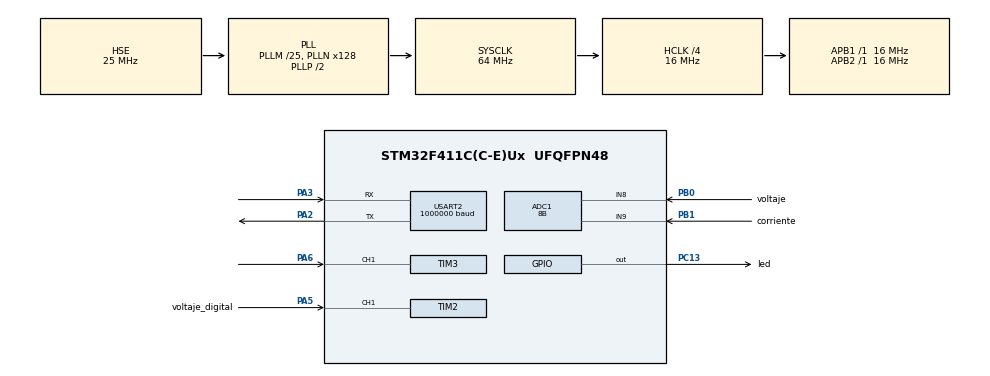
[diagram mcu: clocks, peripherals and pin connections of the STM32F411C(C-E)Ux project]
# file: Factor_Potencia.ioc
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ADC1.Channel-0\#ChannelRegularConversion=ADC_CHANNEL_8
ADC1.Channel-1\#ChannelRegularConversion=ADC_CHANNEL_9
ADC1.ContinuousConvMode=DISABLE
ADC1.DMAContinuousRequests=ENABLE
ADC1.DiscontinuousConvMode=DISABLE
ADC1.EOCSelection=ADC_EOC_SEQ_CONV
ADC1.ExternalTrigConv=ADC_EXTERNALTRIGCONV_T2_TRGO
ADC1.NbrOfConversion=2
ADC1.NbrOfConversionFlag=1
ADC1.Rank-0\#ChannelRegularConversion=1
ADC1.Rank-1\#ChannelRegularConversion=2
ADC1.Resolution=ADC_RESOLUTION_8B
ADC1.SamplingTime-0\#ChannelRegularConversion=ADC_SAMPLETIME_3CYCLES
ADC1.SamplingTime-1\#ChannelRegularConversion=ADC_SAMPLETIME_3CYCLES
ADC1.master=1
Dma.ADC1.0.Direction=DMA_PERIPH_TO_MEMORY
Dma.ADC1.0.FIFOMode=DMA_FIFOMODE_DISABLE
Dma.ADC1.0.Instance=DMA2_Stream0
Dma.ADC1.0.MemDataAlignment=DMA_MDATAALIGN_WORD
Dma.ADC1.0.MemInc=DMA_MINC_ENABLE
Dma.ADC1.0.Mode=DMA_CIRCULAR
Dma.ADC1.0.PeriphDataAlignment=DMA_PDATAALIGN_WORD
Dma.ADC1.0.PeriphInc=DMA_PINC_DISABLE
Dma.ADC1.0.Priority=DMA_PRIORITY_LOW
Dma.Request0=ADC1
Mcu.Family=STM32F4
Mcu.Name=STM32F411C(C-E)Ux
Mcu.Package=UFQFPN48
NVIC.ADC_IRQn=true\:0\:0\:false\:false\:true\:true\:true\:true
NVIC.DMA2_Stream0_IRQn=true\:0\:0\:false\:false\:true\:false\:true\:true
NVIC.PriorityGroup=NVIC_PRIORITYGROUP_4
PA13.Mode=Serial_Wire
PA13.Signal=SYS_JTMS-SWDIO
PA14.Mode=Serial_Wire
PA14.Signal=SYS_JTCK-SWCLK
PA2.Mode=Asynchronous
PA2.Signal=USART2_TX
PA3.Mode=Asynchronous
PA3.Signal=USART2_RX
PA5.GPIO_Label=voltaje_digital
PA5.Signal=S_TIM2_CH1_ETR
PA6.Signal=S_TIM3_CH1
PB0.GPIO_Label=voltaje
PB0.Signal=ADCx_IN8
PB1.GPIO_Label=corriente
PB1.Signal=ADCx_IN9
PC13-ANTI_TAMP.GPIO_Label=led
PC13-ANTI_TAMP.Signal=GPIO_Output
PH0\ -\ OSC_IN.Mode=HSE-External-Oscillator
PH0\ -\ OSC_IN.Signal=RCC_OSC_IN
PH1\ -\ OSC_OUT.Mode=HSE-External-Oscillator
PH1\ -\ OSC_OUT.Signal=RCC_OSC_OUT
ProjectManager.HeapSize=0x200
ProjectManager.StackSize=0x400
ProjectManager.TargetToolchain=STM32CubeIDE
RCC.48MHZClocksFreq_Value=32000000
RCC.AHBCLKDivider=RCC_SYSCLK_DIV4
RCC.AHBFreq_Value=16000000
RCC.APB1Freq_Value=16000000
RCC.APB1TimFreq_Value=16000000
RCC.APB2Freq_Value=16000000
RCC.APB2TimFreq_Value=16000000
RCC.CortexFreq_Value=16000000
RCC.HCLKFreq_Value=16000000
RCC.HSE_VALUE=25000000
RCC.HSI_VALUE=16000000
RCC.LSE_VALUE=32768
RCC.PLLM=25
RCC.PLLN=128
RCC.PLLSourceVirtual=RCC_PLLSOURCE_HSE
RCC.SYSCLKFreq_VALUE=64000000
RCC.SYSCLKSource=RCC_SYSCLKSOURCE_PLLCLK
RCC.VCOOutputFreq_Value=128000000
SH.ADCx_IN8.0=ADC1_IN8,IN8
SH.ADCx_IN9.0=ADC1_IN9,IN9
SH.S_TIM2_CH1_ETR.0=TIM2_CH1,PWM_Input_1
SH.S_TIM3_CH1.0=TIM3_CH1,PWM_Input_1
TIM2.AutoReloadPreload=TIM_AUTORELOAD_PRELOAD_ENABLE
TIM2.Period=1340-1
TIM2.TIM_MasterOutputTrigger=TIM_TRGO_UPDATE
USART2.BaudRate=1000000
USART2.VirtualMode=VM_ASYNC
VP_TIM2_VS_ClockSourceINT.Mode=Internal
board=custom

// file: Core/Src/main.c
/* USER CODE BEGIN Header */
/**
  ******************************************************************************
  * @file           : main.c
  * @brief          : Main program body
  ******************************************************************************
  * @attention
  *
  * Copyright (c) 2024 STMicroelectronics.
  * All rights reserved.
  *
  * This software is licensed under terms that can be found in the LICENSE file
  * in the root directory of this software component.
  * If no LICENSE file comes with this software, it is provided AS-IS.
  *
  ******************************************************************************
  */
/* USER CODE END Header */
#include "main.h"

/* USER CODE BEGIN Includes */
#include "math.h"
#include "stdbool.h"
#include "stdio.h"
#include "string.h"
/* USER CODE END Includes */

/* USER CODE BEGIN PD */
#define N 200 //Cantidad de muestras
#define resolution 254.0 //resulucion en bits del adc

#define Vp_max 3.3 //Voltaje pico en Volt
#define Ip_max 3.3 //Corriente pico en Amperse
#define V_pendiente (Vp_max/(resolution/2.0))
#define I_pediente (Ip_max/(resolution/2.0))

#define pi 3.1416
#define w ((2.0)*pi)
/* USER CODE END PD */

ADC_HandleTypeDef hadc1;
DMA_HandleTypeDef hdma_adc1;

TIM_HandleTypeDef htim2;
TIM_HandleTypeDef htim3;

UART_HandleTypeDef huart2;

/* USER CODE BEGIN PV */
float V = 0; //valores muestreados del voltaje
float I = 0; //Valores muestreados de la corriente
float PA = 0; //Potencia aparente
float Vrms = 0; //rms del voltaje
float Irms = 0; //rms de la corriente
float PF = 0; // Factor de potencia
float phi = 0; //Angulo de defase

bool end_pf_cal = false; //Bandera de fin de calcular PF
bool EOC_adc = false; //bandera de fin de captura los datos del adc

uint16_t samples = 0; //Contador de muestras

char msg[] = "PF:x.xx PA:xx.x phi:xxx.x Vrms:xx.x Irms:xx.x V:xxx.x I:xxx.x\r\n"; //bufer para mandar al pc por uart
//char msg2[] = "Vrms:xxx.x V:xxx.x I:xxx.x \r\n";

// [0]voltaje [1]corriente
uint32_t adc_buffer[2] = {0};//buffer para lalectura del adc en dma
/* USER CODE END PV */

void SystemClock_Config(void);
static void MX_GPIO_Init(void);
static void MX_DMA_Init(void);
static void MX_ADC1_Init(void);
static void MX_TIM2_Init(void);
static void MX_USART2_UART_Init(void);
static void MX_TIM3_Init(void);

int main(void)
{

  /* MCU Configuration--------------------------------------------------------*/

  /* Reset of all peripherals, Initializes the Flash interface and the Systick. */
  HAL_Init();

  /* Configure the system clock */
  SystemClock_Config();

  /* Initialize all configured peripherals */
  MX_GPIO_Init();
  MX_DMA_Init();
  MX_ADC1_Init();
  MX_TIM2_Init();
  MX_USART2_UART_Init();
  MX_TIM3_Init();
  /* USER CODE BEGIN 2 */

  HAL_TIM_Base_Start(&htim2); //INICIALIZAMOS TIMER TRIGER DEL ADC
  HAL_ADC_Start_DMA(&hadc1,adc_buffer,2); // Comienza el ADC Y HABILITA DMA

  /* USER CODE END 2 */

  /* Infinite loop */
  /* USER CODE BEGIN WHILE */
  while (1)
  {
	  if (end_pf_cal) {
		  sprintf(msg,"PF:%.2f PA:%.1f phi:%.1f Vrms:%.1f Irms:%.1f V:%.1f I:%.1f \r\n",PF,PA,phi,Vrms,Irms,V,I);
		  //sprintf(msg2,"Vrms:%.1f V:%.1f I:%.1f \r\n",Vrms,V,I);
		  HAL_UART_Transmit(&huart1, (uint8_t *)msg, strlen(msg), HAL_MAX_DELAY);

		  PA = 0;
		  Vrms = 0;
		  Irms = 0;

		  end_pf_cal = false;
	}

	 if (EOC_adc){ //por interrupcion del adc_dma
		//hacemos convercion de datos
		V = V_pendiente*adc_buffer[0]-Vp_max;
		I = I_pediente*adc_buffer[1]-Ip_max;

		//Implementamos las integrales discretas
		PA += (V*I)/N;
		Vrms += (V*V)/N;
		Irms += (I*I)/N;

		samples++;
		EOC_adc = false;
	}

	if (samples >= N) {
		//Terminamos de calcular
		Vrms = sqrtf(Vrms);
		Irms = sqrtf(Irms);
		PF = PA/(Vrms*Irms);

		phi = (360.0/w)*acosf(PF);

		//Seteamos
		samples = 0;
		end_pf_cal = true;
	}
    /* USER CODE END WHILE */

  }
}

void SystemClock_Config(void)
{
  RCC_OscInitTypeDef RCC_OscInitStruct = {0};
  RCC_ClkInitTypeDef RCC_ClkInitStruct = {0};

  /** Configure the main internal regulator output voltage
  */
  __HAL_RCC_PWR_CLK_ENABLE();
  __HAL_PWR_VOLTAGESCALING_CONFIG(PWR_REGULATOR_VOLTAGE_SCALE1);

  /** Initializes the RCC Oscillators according to the specified parameters
  * in the RCC_OscInitTypeDef structure.
  */
  RCC_OscInitStruct.OscillatorType = RCC_OSCILLATORTYPE_HSE;
  RCC_OscInitStruct.HSEState = RCC_HSE_ON;
  RCC_OscInitStruct.PLL.PLLState = RCC_PLL_ON;
  RCC_OscInitStruct.PLL.PLLSource = RCC_PLLSOURCE_HSE;
  RCC_OscInitStruct.PLL.PLLM = 25;
  RCC_OscInitStruct.PLL.PLLN = 128;
  RCC_OscInitStruct.PLL.PLLP = RCC_PLLP_DIV2;
  RCC_OscInitStruct.PLL.PLLQ = 4;
  if (HAL_RCC_OscConfig(&RCC_OscInitStruct) != HAL_OK)
  {
    Error_Handler();
  }

  /** Initializes the CPU, AHB and APB buses clocks
  */
  RCC_ClkInitStruct.ClockType = RCC_CLOCKTYPE_HCLK|RCC_CLOCKTYPE_SYSCLK
                              |RCC_CLOCKTYPE_PCLK1|RCC_CLOCKTYPE_PCLK2;
  RCC_ClkInitStruct.SYSCLKSource = RCC_SYSCLKSOURCE_PLLCLK;
  RCC_ClkInitStruct.AHBCLKDivider = RCC_SYSCLK_DIV4;
  RCC_ClkInitStruct.APB1CLKDivider = RCC_HCLK_DIV1;
  RCC_ClkInitStruct.APB2CLKDivider = RCC_HCLK_DIV1;

  if (HAL_RCC_ClockConfig(&RCC_ClkInitStruct, FLASH_LATENCY_0) != HAL_OK)
  {
    Error_Handler();
  }
}

static void MX_ADC1_Init(void)
{

  ADC_ChannelConfTypeDef sConfig = {0};

  /** Configure the global features of the ADC (Clock, Resolution, Data Alignment and number of conversion)
  */
  hadc1.Instance = ADC1;
  hadc1.Init.ClockPrescaler = ADC_CLOCK_SYNC_PCLK_DIV2;
  hadc1.Init.Resolution = ADC_RESOLUTION_8B;
  hadc1.Init.ScanConvMode = ENABLE;
  hadc1.Init.ContinuousConvMode = DISABLE;
  hadc1.Init.DiscontinuousConvMode = DISABLE;
  hadc1.Init.ExternalTrigConvEdge = ADC_EXTERNALTRIGCONVEDGE_RISING;
  hadc1.Init.ExternalTrigConv = ADC_EXTERNALTRIGCONV_T2_TRGO;
  hadc1.Init.DataAlign = ADC_DATAALIGN_RIGHT;
  hadc1.Init.NbrOfConversion = 2;
  hadc1.Init.DMAContinuousRequests = ENABLE;
  hadc1.Init.EOCSelection = ADC_EOC_SEQ_CONV;
  if (HAL_ADC_Init(&hadc1) != HAL_OK)
  {
    Error_Handler();
  }

  /** Configure for the selected ADC regular channel its corresponding rank in the sequencer and its sample time.
  */
  sConfig.Channel = ADC_CHANNEL_8;
  sConfig.Rank = 1;
  sConfig.SamplingTime = ADC_SAMPLETIME_3CYCLES;
  if (HAL_ADC_ConfigChannel(&hadc1, &sConfig) != HAL_OK)
  {
    Error_Handler();
  }

  /** Configure for the selected ADC regular channel its corresponding rank in the sequencer and its sample time.
  */
  sConfig.Channel = ADC_CHANNEL_9;
  sConfig.Rank = 2;
  if (HAL_ADC_ConfigChannel(&hadc1, &sConfig) != HAL_OK)
  {
    Error_Handler();
  }

}

static void MX_TIM2_Init(void)
{

  TIM_ClockConfigTypeDef sClockSourceConfig = {0};
  TIM_SlaveConfigTypeDef sSlaveConfig = {0};
  TIM_IC_InitTypeDef sConfigIC = {0};
  TIM_MasterConfigTypeDef sMasterConfig = {0};

  htim2.Instance = TIM2;
  htim2.Init.Prescaler = 0;
  htim2.Init.CounterMode = TIM_COUNTERMODE_UP;
  htim2.Init.Period = 1340-1;
  htim2.Init.ClockDivision = TIM_CLOCKDIVISION_DIV1;
  htim2.Init.AutoReloadPreload = TIM_AUTORELOAD_PRELOAD_ENABLE;
  if (HAL_TIM_Base_Init(&htim2) != HAL_OK)
  {
    Error_Handler();
  }
  sClockSourceConfig.ClockSource = TIM_CLOCKSOURCE_INTERNAL;
  if (HAL_TIM_ConfigClockSource(&htim2, &sClockSourceConfig) != HAL_OK)
  {
    Error_Handler();
  }
  if (HAL_TIM_IC_Init(&htim2) != HAL_OK)
  {
    Error_Handler();
  }
  sSlaveConfig.SlaveMode = TIM_SLAVEMODE_RESET;
  sSlaveConfig.InputTrigger = TIM_TS_TI1FP1;
  sSlaveConfig.TriggerPolarity = TIM_INPUTCHANNELPOLARITY_RISING;
  sSlaveConfig.TriggerPrescaler = TIM_ICPSC_DIV1;
  sSlaveConfig.TriggerFilter = 0;
  if (HAL_TIM_SlaveConfigSynchro(&htim2, &sSlaveConfig) != HAL_OK)
  {
    Error_Handler();
  }
  sConfigIC.ICPolarity = TIM_INPUTCHANNELPOLARITY_RISING;
  sConfigIC.ICSelection = TIM_ICSELECTION_DIRECTTI;
  sConfigIC.ICPrescaler = TIM_ICPSC_DIV1;
  sConfigIC.ICFilter = 0;
  if (HAL_TIM_IC_ConfigChannel(&htim2, &sConfigIC, TIM_CHANNEL_1) != HAL_OK)
  {
    Error_Handler();
  }
  sConfigIC.ICPolarity = TIM_INPUTCHANNELPOLARITY_FALLING;
  sConfigIC.ICSelection = TIM_ICSELECTION_INDIRECTTI;
  if (HAL_TIM_IC_ConfigChannel(&htim2, &sConfigIC, TIM_CHANNEL_2) != HAL_OK)
  {
    Error_Handler();
  }
  sMasterConfig.MasterOutputTrigger = TIM_TRGO_UPDATE;
  sMasterConfig.MasterSlaveMode = TIM_MASTERSLAVEMODE_DISABLE;
  if (HAL_TIMEx_MasterConfigSynchronization(&htim2, &sMasterConfig) != HAL_OK)
  {
    Error_Handler();
  }

}

static void MX_TIM3_Init(void)
{

  TIM_SlaveConfigTypeDef sSlaveConfig = {0};
  TIM_IC_InitTypeDef sConfigIC = {0};
  TIM_MasterConfigTypeDef sMasterConfig = {0};

  htim3.Instance = TIM3;
  htim3.Init.Prescaler = 0;
  htim3.Init.CounterMode = TIM_COUNTERMODE_UP;
  htim3.Init.Period = 65535;
  htim3.Init.ClockDivision = TIM_CLOCKDIVISION_DIV1;
  htim3.Init.AutoReloadPreload = TIM_AUTORELOAD_PRELOAD_DISABLE;
  if (HAL_TIM_IC_Init(&htim3) != HAL_OK)
  {
    Error_Handler();
  }
  sSlaveConfig.SlaveMode = TIM_SLAVEMODE_RESET;
  sSlaveConfig.InputTrigger = TIM_TS_TI1FP1;
  sSlaveConfig.TriggerPolarity = TIM_INPUTCHANNELPOLARITY_RISING;
  sSlaveConfig.TriggerPrescaler = TIM_ICPSC_DIV1;
  sSlaveConfig.TriggerFilter = 0;
  if (HAL_TIM_SlaveConfigSynchro(&htim3, &sSlaveConfig) != HAL_OK)
  {
    Error_Handler();
  }
  sConfigIC.ICPolarity = TIM_INPUTCHANNELPOLARITY_RISING;
  sConfigIC.ICSelection = TIM_ICSELECTION_DIRECTTI;
  sConfigIC.ICPrescaler = TIM_ICPSC_DIV1;
  sConfigIC.ICFilter = 0;
  if (HAL_TIM_IC_ConfigChannel(&htim3, &sConfigIC, TIM_CHANNEL_1) != HAL_OK)
  {
    Error_Handler();
  }
  sConfigIC.ICPolarity = TIM_INPUTCHANNELPOLARITY_FALLING;
  sConfigIC.ICSelection = TIM_ICSELECTION_INDIRECTTI;
  if (HAL_TIM_IC_ConfigChannel(&htim3, &sConfigIC, TIM_CHANNEL_2) != HAL_OK)
  {
    Error_Handler();
  }
  sMasterConfig.MasterOutputTrigger = TIM_TRGO_RESET;
  sMasterConfig.MasterSlaveMode = TIM_MASTERSLAVEMODE_DISABLE;
  if (HAL_TIMEx_MasterConfigSynchronization(&htim3, &sMasterConfig) != HAL_OK)
  {
    Error_Handler();
  }

}

static void MX_USART2_UART_Init(void)
{

  huart2.Instance = USART2;
  huart2.Init.BaudRate = 115200;
  huart2.Init.WordLength = UART_WORDLENGTH_8B;
  huart2.Init.StopBits = UART_STOPBITS_1;
  huart2.Init.Parity = UART_PARITY_NONE;
  huart2.Init.Mode = UART_MODE_TX_RX;
  huart2.Init.HwFlowCtl = UART_HWCONTROL_NONE;
  huart2.Init.OverSampling = UART_OVERSAMPLING_16;
  if (HAL_UART_Init(&huart2) != HAL_OK)
  {
    Error_Handler();
  }

}

static void MX_DMA_Init(void)
{

  /* DMA controller clock enable */
  __HAL_RCC_DMA2_CLK_ENABLE();

  /* DMA interrupt init */
  /* DMA2_Stream0_IRQn interrupt configuration */
  HAL_NVIC_SetPriority(DMA2_Stream0_IRQn, 0, 0);
  HAL_NVIC_EnableIRQ(DMA2_Stream0_IRQn);

}

static void MX_GPIO_Init(void)
{

  /* GPIO Ports Clock Enable */
  __HAL_RCC_GPIOH_CLK_ENABLE();
  __HAL_RCC_GPIOA_CLK_ENABLE();
  __HAL_RCC_GPIOB_CLK_ENABLE();

}

/* USER CODE BEGIN 4 */
void HAL_ADC_ConvCpltCallback(ADC_HandleTypeDef* hadc) {
	// Conversion Complete & DMA Transfer Complete As Well
	 EOC_adc = true;//levantamos la bandera
}
/* USER CODE END 4 */

void Error_Handler(void)
{
  __disable_irq();
  while (1)
  {
  }
}
